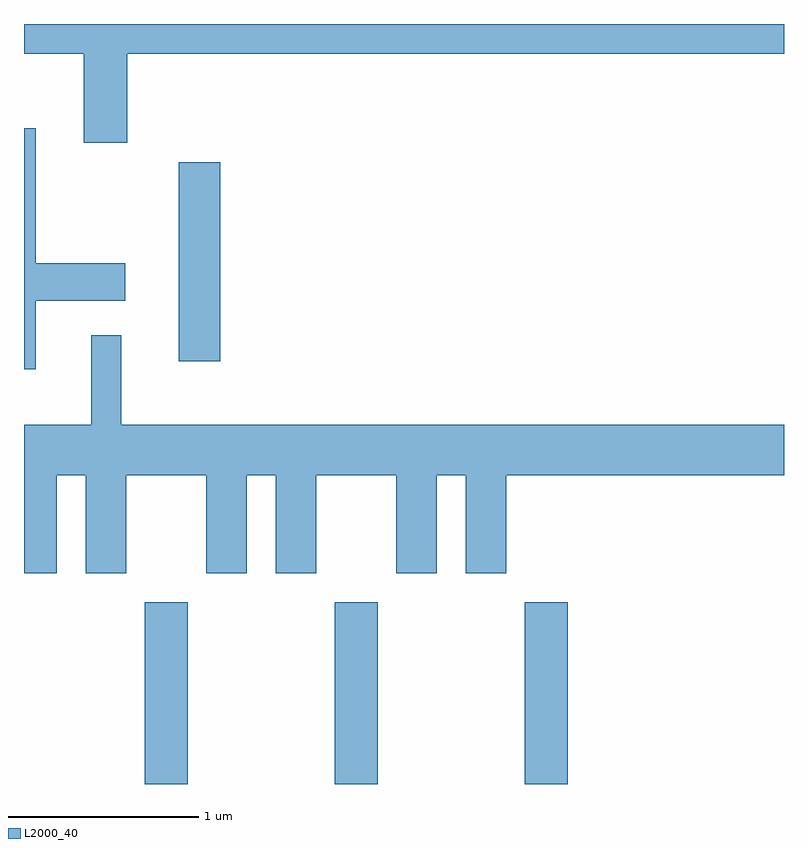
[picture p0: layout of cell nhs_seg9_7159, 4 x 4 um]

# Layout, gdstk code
import gdstk
lib = gdstk.Library(unit=1e-6, precision=1e-09)
def R(c, l, rs):  # rectangles x0, y0, x1, y1
    for r in rs: c.add(gdstk.rectangle(r[:2], r[2:], *l))
def A(c, l, x, y, w, h, nx, ny, dx, dy):  # array of equal rectangles
    R(c, l, [(x+i*dx, y+j*dy, x+i*dx+w, y+j*dy+h) for i in range(nx) for j in range(ny)])
def P(c, l, *ps):  # polygons
    for p in ps: c.add(gdstk.Polygon(p, *l))
L2000_40 = (2000, 40)

nhs_seg9_7159 = lib.new_cell('nhs_seg9_7159')
A(nhs_seg9_7159, L2000_40, 398.246, 1972.432, 0.228, 0.957, 3, 1, 1, 0)
R(nhs_seg9_7159, L2000_40, [(398.426,1974.656,398.644,1975.704)])
P(nhs_seg9_7159, L2000_40, [(398.154,1976.276),(401.611,1976.276),(401.611,1976.432),(397.611,1976.432),(397.611,1976.276),(397.926,1976.276),(397.926,1975.806),(398.154,1975.806)],
  [(397.674,1974.976),(398.144,1974.976),(398.144,1975.174),(397.674,1975.174),(397.674,1975.883),(397.611,1975.883),(397.611,1974.616),(397.674,1974.616)],
  [(397.784,1974.056),(397.936,1974.056),(397.936,1973.541),(398.149,1973.541),(398.149,1974.056),(398.571,1974.056),(398.571,1973.541),(398.784,1973.541),(398.784,1974.056),(398.936,1974.056),(398.936,1973.541),(399.149,1973.541),(399.149,1974.056),(399.571,1974.056),(399.571,1973.541),(399.784,1973.541),(399.784,1974.056),(399.936,1974.056),(399.936,1973.541),(400.149,1973.541),(400.149,1974.056),(401.611,1974.056),(401.611,1974.324),(398.124,1974.324),(398.124,1974.793),(397.966,1974.793),(397.966,1974.324),(397.611,1974.324),(397.611,1973.541),(397.784,1973.541)])

lib.write_gds('nhs_seg9_7159.gds')
